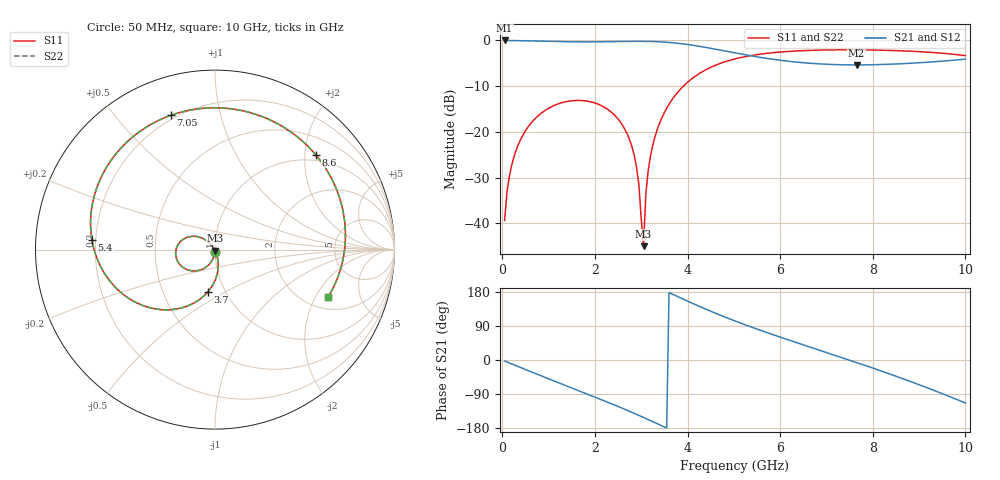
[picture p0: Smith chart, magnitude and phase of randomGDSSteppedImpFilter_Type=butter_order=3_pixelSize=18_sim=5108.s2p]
! freq	dB(S11)	phase(S11)	dB(S12)	phase(S12)
!  dB(S21)	phase(S21)	dB(S22)	phase(S22)
!S-par simulation data
#  GHz  S  DB  R 50
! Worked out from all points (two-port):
!   200 points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, 50 MHz to 10 GHz, reference 50 ohm
!   highest |S21| = 0.00 dB at 50 MHz (marker M1); lowest = -5.4 dB at 7.65 GHz (marker M2)
!   |S21| within 3 dB of the highest: start of sweep to 5.175 GHz
!   lowest |S11| = -45.0 dB at 3.05 GHz (marker M3), VSWR 1.01, Z = 49.9 - j0.561 ohm
!   |S11| at or under -10 dB: start of sweep to 3.91 GHz
!   |S22| runs from -44.4 to -2.0 dB; largest |S21 - S12| = 0
!   S11 on the Smith chart (normalised r, x): 50 MHz: 1.00, -0.02; 3.7 GHz: 0.83, -0.41; 5.4 GHz: 0.19, +0.04; 7.05 GHz: 0.18, +0.71; 8.6 GHz: 0.86, +2.24; 10 GHz: 2.58, -2.55
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0.05  -39.36 -92.1  -0.00 -2.5  -0.00 -2.5  -39.36 -92.1
0.2  -27.40 -100.4  -0.03 -10.1  -0.03 -10.1  -27.40 -100.4
0.5  -19.76 -115.4  -0.08 -25.1  -0.08 -25.1  -19.76 -115.3
1.05  -14.55 -142.5  -0.21 -52.0  -0.21 -52.0  -14.55 -142.5
1.75  -13.16 -176.1  -0.32 -85.6  -0.32 -85.6  -13.16 -176.1
2.7  -20.51 137.7  -0.20 -132.9  -0.20 -132.9  -20.51 138.1
2.9  -27.76 129.4  -0.19 -143.5  -0.19 -143.5  -27.75 130.3
3.05  -44.97 -96.1  -0.20 -151.6  -0.20 -151.6  -44.41 -101.4
3.1  -33.50 -73.3  -0.21 -154.4  -0.21 -154.4  -33.46 -75.1
3.15  -28.49 -72.6  -0.22 -157.1  -0.22 -157.1  -28.48 -73.6
3.4  -18.01 -83.3  -0.31 -171.0  -0.31 -171.0  -18.00 -83.6
3.7  -12.46 -99.4  -0.53 172.1  -0.53 172.1  -12.46 -99.6
4.35  -6.66 -134.4  -1.45 136.6  -1.45 136.6  -6.66 -134.5
5.05  -3.97 -168.7  -2.77 101.8  -2.77 101.8  -3.97 -168.7
5.4  -3.26 175.7  -3.41 86.0  -3.41 86.0  -3.26 175.7
6.7  -2.16 122.3  -5.03 32.0  -5.03 32.0  -2.16 122.3
7.05  -2.07 108.2  -5.23 17.9  -5.23 17.9  -2.07 108.3
7.65  -2.05 83.9  -5.35 -6.5  -5.35 -6.5  -2.05 83.9
8.35  -2.18 54.3  -5.21 -36.1  -5.21 -36.1  -2.18 54.4
8.6  -2.26 43.3  -5.10 -47.1  -5.10 -47.1  -2.26 43.4
9.3  -2.64 11.4  -4.68 -79.1  -4.68 -79.1  -2.64 11.5
10  -3.32 -22.8  -4.10 -113.5  -4.10 -113.5  -3.32 -22.8
